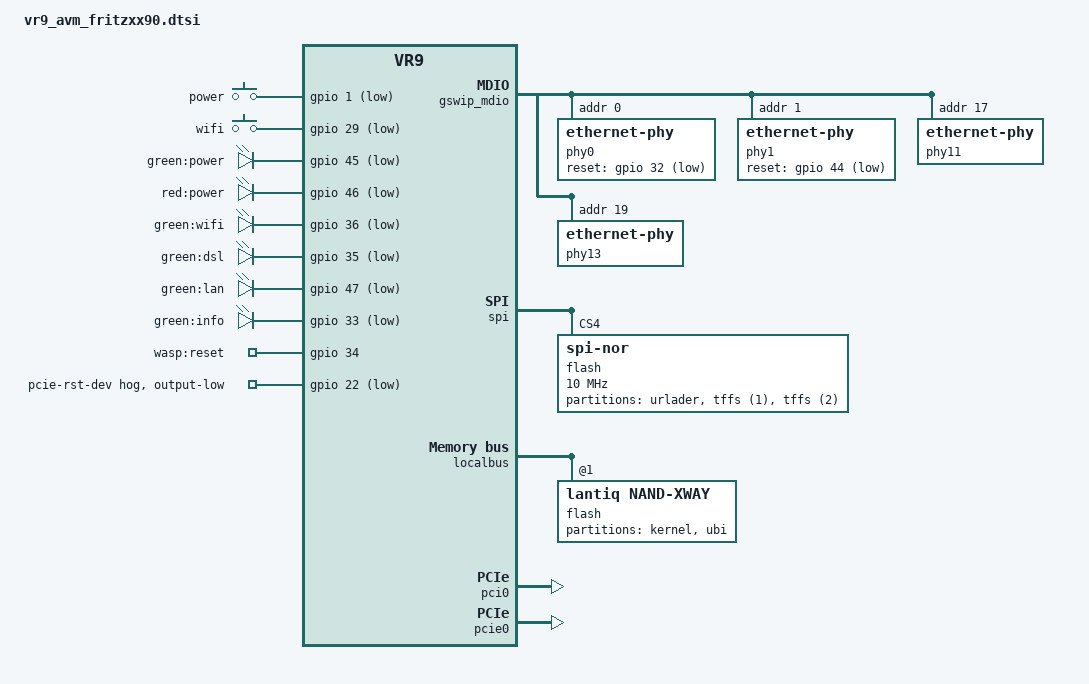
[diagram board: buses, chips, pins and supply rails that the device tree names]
// SPDX-License-Identifier: GPL-2.0-or-later OR MIT

#include "vr9.dtsi"

#include <dt-bindings/input/input.h>
#include <dt-bindings/mips/lantiq_rcu_gphy.h>

/ {
	compatible = "avm,fritzxx90", "lantiq,xway", "lantiq,vr9";

	chosen {
		bootargs = "console=ttyLTQ0,115200";
	};

	aliases {
		led-boot = &led_power_green;
		led-failsafe = &led_power_red;
		led-running = &led_power_green;
		led-upgrade = &led_power_red;

		led-dsl = &led_dsl;
		led-internet = &led_info;
		led-wifi = &led_wifi;
	};

	keys {
		compatible = "gpio-keys-polled";
		poll-interval = <100>;

		power {
			label = "power";
			gpios = <&gpio 1 GPIO_ACTIVE_LOW>;
			linux,code = <KEY_POWER>;
		};

		wifi {
			label = "wifi";
			gpios = <&gpio 29 GPIO_ACTIVE_LOW>;
			linux,code = <KEY_RFKILL>;
		};
	};

	leds {
		compatible = "gpio-leds";

		led_power_green: power_green {
			label = "green:power";
			gpios = <&gpio 45 GPIO_ACTIVE_LOW>;
			default-state = "keep";
		};

		led_power_red: power_red {
			label = "red:power";
			gpios = <&gpio 46 GPIO_ACTIVE_LOW>;
		};

		led_wifi: wifi {
			label = "green:wifi";
			gpios = <&gpio 36 GPIO_ACTIVE_LOW>;
		};

		led_dsl: dsl {
			label = "green:dsl";
			gpios = <&gpio 35 GPIO_ACTIVE_LOW>;
		};

		led_lan {
			label = "green:lan";
			gpios = <&gpio 47 GPIO_ACTIVE_LOW>;
		};

		led_info: info {
			label = "green:info";
			gpios = <&gpio 33 GPIO_ACTIVE_LOW>;
		};
	};

	gpio-export {
		compatible = "gpio-export";

		gpio_wasp_reset {
			gpio-export,name = "wasp:reset";
			gpio-export,output = <1>;
			gpios = <&gpio 34 GPIO_ACTIVE_HIGH>;
		};
	};
};

&gphy0 {
	lantiq,gphy-mode = <GPHY_MODE_GE>;
};

&gphy1 {
	lantiq,gphy-mode = <GPHY_MODE_GE>;
};

&gswip_mdio {
	phy0: ethernet-phy@0 {
		reg = <0x00>;
		reset-gpios = <&gpio 32 GPIO_ACTIVE_LOW>;
	};

	phy1: ethernet-phy@1 {
		reg = <0x01>;
		reset-gpios = <&gpio 44 GPIO_ACTIVE_LOW>;
	};

	phy11: ethernet-phy@11 {
		reg = <0x11>;
	};

	phy13: ethernet-phy@13 {
		reg = <0x13>;
	};
};

&gswip_ports {
	port@0 {
		reg = <0>;
		label = "lan3";
		phy-mode = "rgmii-rxid";
		phy-handle = <&phy0>;
	};

	port@1 {
		reg = <1>;
		label = "lan4";
		phy-mode = "rgmii-rxid";
		phy-handle = <&phy1>;
	};

	port@2 {
		reg = <2>;
		label = "lan2";
		phy-mode = "internal";
		phy-handle = <&phy11>;
	};

	port@4 {
		reg = <4>;
		label = "lan1";
		phy-mode = "internal";
		phy-handle = <&phy13>;
	};

	port@5 {
		reg = <5>;
		label = "lan5";
		phy-mode = "rgmii";

		fixed-link {
			speed = <1000>;
			full-duplex;
		};
	};
};

&gpio {
	pinctrl-names = "default";
	pinctrl-0 = <&state_default>;
	gpio-ranges = <&gpio 0 0 56>;

	state_default: pinmux {
		phy-rst {
			lantiq,pins = "io32", "io44";
			lantiq,pull = <0>;
			lantiq,open-drain;
			lantiq,output = <1>;
		};

		pcie-rst {
			lantiq,pins = "io21";
			lantiq,open-drain;
			lantiq,output = <1>;
		};
	};

	pcie-rst-dev {
		gpio-hog;
		line-name = "pcie-rst-dev";
		gpios = <22 GPIO_ACTIVE_LOW>;
		output-low;
	};
};

&spi {
	status = "okay";

	flash@4 {
		compatible = "jedec,spi-nor";
		reg = <4>;
		spi-max-frequency = <10000000>;

		partitions {
			compatible = "fixed-partitions";
			#address-cells = <1>;
			#size-cells = <1>;

			urlader: partition@0 {
				reg = <0x0 0x40000>;
				label = "urlader";
				read-only;
			};

			partition@20000 {
				reg = <0x40000 0x60000>;
				label = "tffs (1)";
				read-only;
			};

			partition@30000 {
				reg = <0xa0000 0x60000>;
				label = "tffs (2)";
				read-only;
			};
		};
	};
};

&localbus {
	flash@1 {
		compatible = "lantiq,nand-xway";
		bank-width = <2>;
		reg = <0x1 0x0 0x2000000>;

		nand-ecc-mode = "on-die";

		partitions {
			compatible = "fixed-partitions";
			#address-cells = <1>;
			#size-cells = <1>;

			partition@0 {
				label = "kernel";
				reg = <0x0 0x400000>;
			};

			partition@400000 {
				label = "ubi";
				reg = <0x400000 0x1fc00000>;
			};
		};
	};
};


&pci0 {
	status = "okay";
};

&pcie0 {
	status = "okay";

	gpio-reset = <&gpio 21 GPIO_ACTIVE_LOW>;
	lantiq,switch-pcie-endianess;
};
